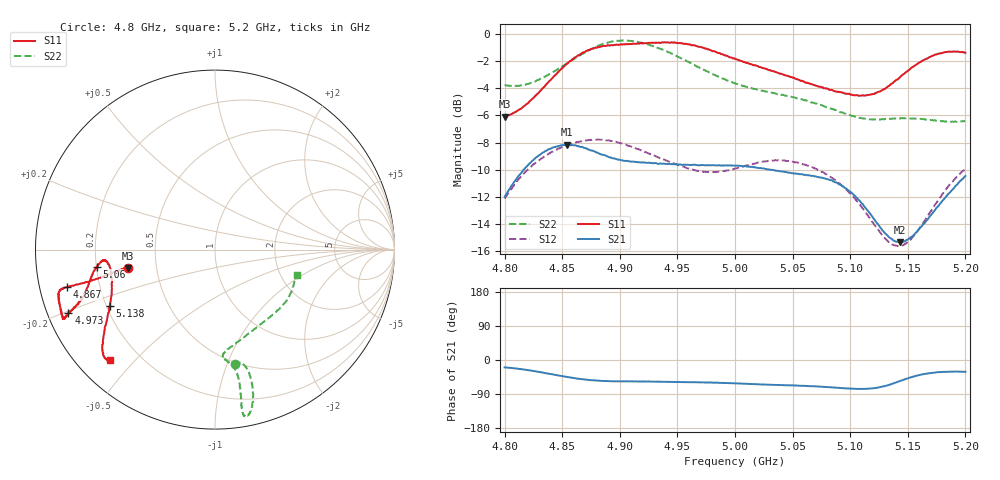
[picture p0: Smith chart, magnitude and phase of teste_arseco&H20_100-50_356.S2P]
! Network Analyzer HP8722D
! Hewlett-Packard
! Data name: Linha & Wilkinson
! Saver's name: Rodrigo Anjos
! Comments: Teste da utilização de aquisição
! continua pelo VNA HP8722D
! Time and date: 6/5/2025 15:32
!  Frequency  S11  S21  S12  S22
# HZ  S  MA R 50
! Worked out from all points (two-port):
!   401 points, 4.8 GHz to 5.2 GHz, reference 50 ohm
!   highest |S21| = -8.16 dB at 4.854 GHz (marker M1); lowest = -15.3 dB at 5.143 GHz (marker M2)
!   |S21| within 3 dB of the highest: 4.806 GHz to 5.093 GHz (286.4 MHz wide, 5.79 % of centre); 5.191751 GHz to end of sweep
!   lowest |S11| = -6.1 dB at 4.8 GHz (marker M3), VSWR 2.97, Z = 17 - j4.58 ohm
!   |S11| at or under -10 dB: nowhere
!   |S22| runs from -6.5 to -0.5 dB; largest |S21 - S12| = 0.62
!   S11 on the Smith chart (normalised r, x): 4.8 GHz: 0.34, -0.09; 4.867 GHz: 0.08, -0.12; 4.973 GHz: 0.06, -0.21; 5.06 GHz: 0.20, -0.07; 5.138 GHz: 0.21, -0.24; 5.2 GHz: 0.10, -0.43
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4.8e9  0.4966 -168.2  0.2517 -19.6  0.2479 -140.8  0.648 -80.3
4.828e9  0.5995 -167.0  0.3529 -30.5  0.3388 -144.7  0.675 -75.4
4.854e9  0.7757 -165.8  0.3909 -44.9  0.3894 -149.6  0.7787 -74.6
4.867e9  0.8494 -165.8  0.3841 -50.8  0.4031 -151.8  0.8424 -75.4
4.898e9  0.9114 -163.0  0.3453 -56.2  0.3985 -156.3  0.9434 -78.8
4.914e9  0.9196 -159.6  0.3381 -56.3  0.3789 -157.0  0.9376 -80.2
4.934e9  0.9283 -156.3  0.3326 -57.5  0.3508 -155.6  0.884 -80.4
4.953e9  0.9234 -155.4  0.3306 -58.0  0.326 -152.0  0.8148 -79.8
4.973e9  0.8891 -156.7  0.3291 -59.3  0.3107 -145.8  0.7372 -79.7
5e9  0.8096 -158.9  0.3277 -61.7  0.3199 -137.2  0.6572 -81.3
5.035e9  0.7238 -165.3  0.3142 -65.7  0.3434 -134.3  0.6047 -85.6
5.06e9  0.6668 -171.6  0.3028 -68.2  0.3306 -136.0  0.5703 -84.2
5.067e9  0.6523 -172.8  0.3007 -69.0  0.3233 -136.6  0.5594 -82.7
5.087e9  0.6141 -174.4  0.2843 -73.1  0.29 -138.4  0.5252 -74.8
5.103e9  0.5952 -171.4  0.256 -76.0  0.2508 -138.6  0.498 -65.2
5.118e9  0.598 -164.3  0.2163 -75.2  0.207 -134.5  0.4851 -54.4
5.134e9  0.6453 -154.2  0.1781 -65.4  0.1706 -120.9  0.4865 -43.3
5.138e9  0.6664 -151.8  0.1736 -61.3  0.1671 -115.7  0.4876 -40.9
5.143e9  0.6911 -149.4  0.1713 -55.8  0.1657 -109.0  0.4882 -38.0
5.154e9  0.7545 -144.5  0.18 -44.4  0.1784 -95.1  0.4876 -32.2
5.174e9  0.8394 -138.4  0.2262 -32.8  0.2363 -80.2  0.4795 -23.8
5.2e9  0.8507 -133.5  0.3001 -31.3  0.3185 -76.8  0.4766 -17.6
